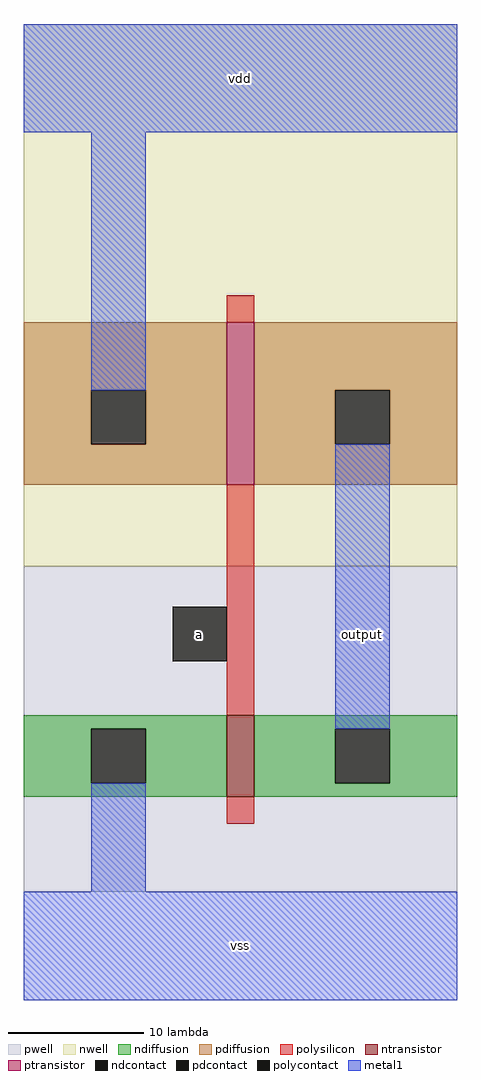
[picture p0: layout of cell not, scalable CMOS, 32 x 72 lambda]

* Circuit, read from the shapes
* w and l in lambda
.subckt not a output vdd vss
M1 output a vss VSUBS nfet w=6 l=2
M2 output a vdd n1 pfet w=12 l=2
.ends

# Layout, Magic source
magic
tech scmos
<< pwell >>
rect 0 8 32 32
<< nwell >>
rect 0 32 32 72
<< polysilicon >>
rect 15 50 17 52
rect 15 21 17 38
rect 15 13 17 15
<< ndiffusion >>
rect 0 20 15 21
rect 0 16 5 20
rect 9 16 15 20
rect 0 15 15 16
rect 17 20 32 21
rect 17 16 23 20
rect 27 16 32 20
rect 17 15 32 16
<< pdiffusion >>
rect 0 45 15 50
rect 0 41 5 45
rect 9 41 15 45
rect 0 38 15 41
rect 17 45 32 50
rect 17 41 23 45
rect 27 41 32 45
rect 17 38 32 41
<< metal1 >>
rect 0 64 32 72
rect 5 45 9 64
rect 23 20 27 41
rect 5 8 9 16
rect 0 0 32 8
<< ntransistor >>
rect 15 15 17 21
<< ptransistor >>
rect 15 38 17 50
<< polycontact >>
rect 11 25 15 29
<< ndcontact >>
rect 5 16 9 20
rect 23 16 27 20
<< pdcontact >>
rect 5 41 9 45
rect 23 41 27 45
<< labels >>
rlabel polycontact 13 27 13 27 1 a
rlabel metal1 25 27 25 27 1 output
rlabel metal1 16 4 16 4 1 vss
rlabel metal1 16 68 16 68 5 vdd
<< end >>
